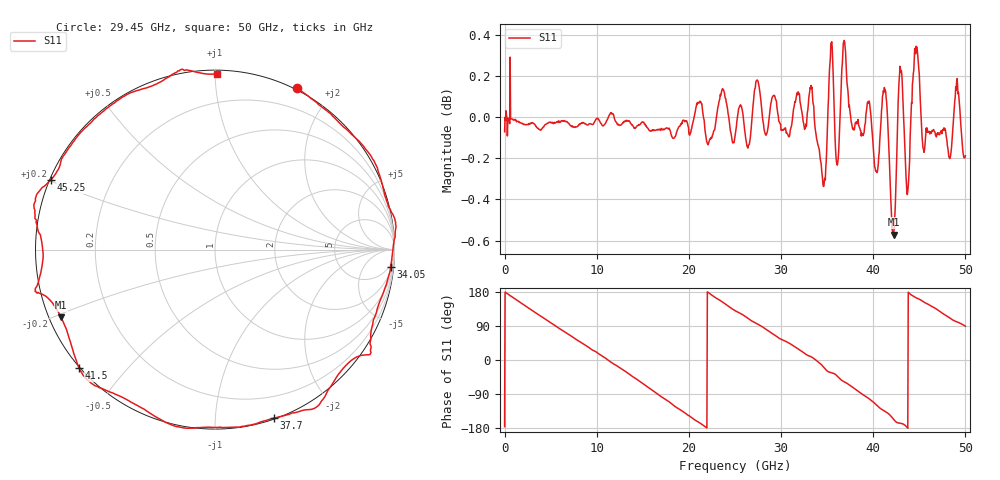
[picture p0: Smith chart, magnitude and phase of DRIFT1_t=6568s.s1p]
!Created with skrf (http://scikit-rf.org).
# Hz S RI R 50.0
!freq ReS11 ImS11
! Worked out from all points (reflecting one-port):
!   1001 points, 300 kHz to 50 GHz, reference 50 ohm
!   lowest |S11| = -0.6 dB at 42.2 GHz (marker M1), VSWR 30.47, Z = 1.71 - j10.5 ohm
!   phase of S11 starts at -176 deg and turns -815 deg over the sweep
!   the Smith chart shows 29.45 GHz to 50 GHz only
!   S11 on the Smith chart (normalised r, x): 29.45 GHz: -0.02, +1.62; 34.05 GHz: 3, -20; 37.7 GHz: 0.01, -1.41; 41.5 GHz: -0.00, -0.37; 45.25 GHz: 0.00, +0.20; 50 GHz: 0.02, +1.01
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300000  -0.9893 -0.071
1.550291e9  -0.8991 0.4313
3.30028e9  -0.5811 0.8087
6.250262e9  0.201 0.9776
9.500243e9  0.8902 0.4464
1.115023e10  0.9985 0.0203
1.250022e10  0.9327 -0.3477
1.580021e10  0.2415 -0.9624
1.73502e10  -0.2088 -0.9709
1.875019e10  -0.5952 -0.7948
2.155017e10  -0.9919 -0.1354
2.350016e10  -0.9212 0.4224
2.500015e10  -0.6397 0.7551
2.735014e10  -0.1087 1.015
2.945012e10  0.4545 0.9015
3.125011e10  0.7817 0.6237
3.30501e10  0.9954 0.1869
3.40501e10  0.9792 -0.0964
3.520009e10  0.868 -0.5358
3.750008e10  0.3839 -0.9257
3.770007e10  0.3286 -0.9394
3.955006e10  -0.2128 -0.9864
4.150005e10  -0.7574 -0.6601
4.220005e10  -0.8576 -0.3762
4.375004e10  -0.9597 -0.00171
4.525003e10  -0.9152 0.3885
4.775001e10  -0.4917 0.8637
5e10  0.0124 0.9786
